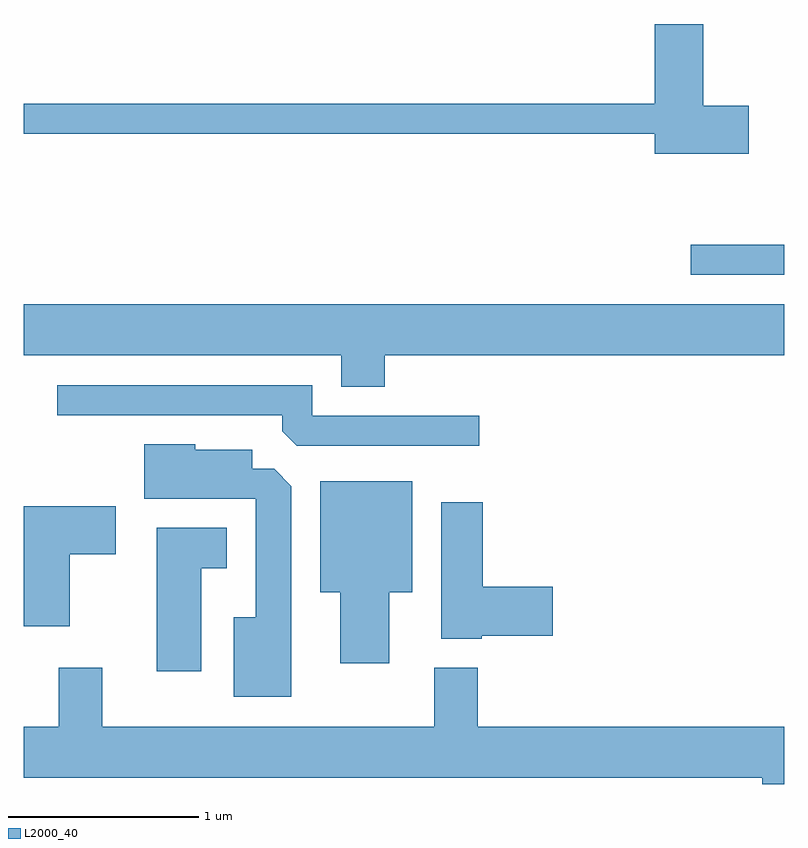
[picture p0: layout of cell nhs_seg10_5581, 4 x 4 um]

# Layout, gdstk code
import gdstk
lib = gdstk.Library(unit=1e-6, precision=1e-09)
def R(c, l, rs):  # rectangles x0, y0, x1, y1
    for r in rs: c.add(gdstk.rectangle(r[:2], r[2:], *l))
def P(c, l, *ps):  # polygons
    for p in ps: c.add(gdstk.Polygon(p, *l))
L2000_40 = (2000, 40)

nhs_seg10_5581 = lib.new_cell('nhs_seg10_5581')
R(nhs_seg10_5581, L2000_40, [(353.118,2143.201,353.611,2143.359)])
P(nhs_seg10_5581, L2000_40, [(353.424,2144.089),(353.184,2144.089),(353.184,2144.519),(352.931,2144.519),(352.931,2144.099),(349.611,2144.099),(349.611,2143.941),(352.931,2143.941),(352.931,2143.836),(353.424,2143.836)],
  [(351.509,2142.776),(353.611,2142.776),(353.611,2143.044),(349.611,2143.044),(349.611,2142.776),(351.281,2142.776),(351.281,2142.611),(351.509,2142.611)],
  [(352.008,2142.459),(351.129,2142.459),(351.129,2142.619),(349.788,2142.619),(349.788,2142.461),(350.971,2142.461),(350.971,2142.377),(351.047,2142.301),(352.008,2142.301)],
  [(351.019,2142.089),(350.929,2142.179),(350.814,2142.179),(350.814,2142.279),(350.514,2142.279),(350.514,2142.309),(350.246,2142.309),(350.246,2142.021),(350.831,2142.021),(350.831,2141.399),(350.716,2141.399),(350.716,2140.981),(351.019,2140.981)],
  [(351.534,2141.531),(351.654,2141.531),(351.654,2142.114),(351.171,2142.114),(351.171,2141.531),(351.276,2141.531),(351.276,2141.156),(351.534,2141.156)],
  [(352.02,2141.301),(352.394,2141.301),(352.394,2141.559),(352.024,2141.559),(352.024,2142.004),(351.806,2142.004),(351.806,2141.286),(352.02,2141.286)],
  [(349.854,2141.731),(350.094,2141.731),(350.094,2141.984),(349.611,2141.984),(349.611,2141.351),(349.854,2141.351)],
  [(350.544,2141.656),(350.679,2141.656),(350.679,2141.869),(350.311,2141.869),(350.311,2141.116),(350.544,2141.116)],
  [(353.611,2140.824),(351.999,2140.824),(351.999,2141.134),(351.771,2141.134),(351.771,2140.824),(350.024,2140.824),(350.024,2141.134),(349.796,2141.134),(349.796,2140.824),(349.611,2140.824),(349.611,2140.556),(353.496,2140.556),(353.496,2140.522),(353.611,2140.522)])

lib.write_gds('nhs_seg10_5581.gds')
